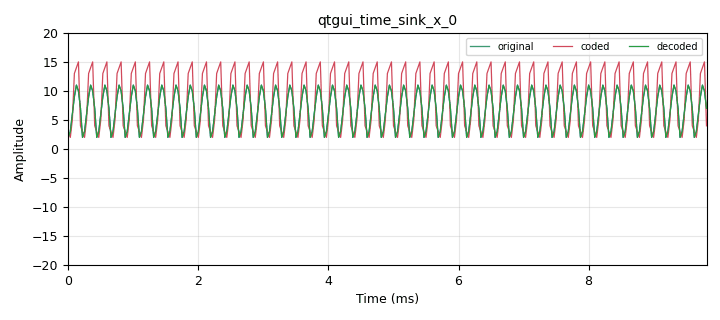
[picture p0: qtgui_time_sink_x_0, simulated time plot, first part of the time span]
<?xml version='1.0' encoding='utf-8'?>
<?grc format='1' created='3.7.13'?>
<flow_graph>
<block>
<key>options</key>
<param><key>id</key><value>top_block</value></param>
<param><key>generate_options</key><value>qt_gui</value></param>
</block>
<block>
<key>variable</key>
<param><key>id</key><value>cod_gray</value></param>
<param><key>value</key><value>digital.utils.gray_code.gray_code(16)</value></param>
</block>
<block>
<key>variable</key>
<param><key>id</key><value>cod_gray_inv</value></param>
<param><key>value</key><value>digital.mod_codes.invert_code(cod_gray)</value></param>
</block>
<block>
<key>variable</key>
<param><key>id</key><value>samp_rate</value></param>
<param><key>value</key><value>32000</value></param>
</block>
<block>
<key>blocks_char_to_float</key>
<param><key>id</key><value>blocks_char_to_float_0</value></param>
<param><key>scale</key><value>1</value></param>
</block>
<block>
<key>blocks_char_to_float</key>
<param><key>id</key><value>blocks_char_to_float_0_0</value></param>
<param><key>scale</key><value>1</value></param>
</block>
<block>
<key>blocks_char_to_float</key>
<param><key>id</key><value>blocks_char_to_float_0_1</value></param>
<param><key>scale</key><value>1</value></param>
</block>
<block>
<key>blocks_vector_source_x</key>
<param><key>id</key><value>blocks_vector_source_x_0</value></param>
<param><key>type</key><value>byte</value></param>
<param><key>repeat</key><value>True</value></param>
<param><key>vector</key><value>(7,2,3,6,9,11,10)</value></param>
</block>
<block>
<key>digital_map_bb</key>
<param><key>id</key><value>digital_map_bb_0</value></param>
<param><key>map</key><value>cod_gray</value></param>
</block>
<block>
<key>digital_map_bb</key>
<param><key>id</key><value>digital_map_bb_0_0</value></param>
<param><key>map</key><value>cod_gray_inv</value></param>
</block>
<block>
<key>qtgui_time_sink_x</key>
<param><key>id</key><value>qtgui_time_sink_x_0</value></param>
<param><key>color1</key><value>"blue"</value></param>
<param><key>label1</key><value>original</value></param>
<param><key>color2</key><value>"red"</value></param>
<param><key>label2</key><value>coded</value></param>
<param><key>color3</key><value>"green"</value></param>
<param><key>label3</key><value>decoded</value></param>
<param><key>nconnections</key><value>3</value></param>
<param><key>size</key><value>1024</value></param>
<param><key>srate</key><value>samp_rate</value></param>
<param><key>type</key><value>float</value></param>
<param><key>ymax</key><value>20</value></param>
<param><key>ymin</key><value>-20</value></param>
</block>
<connection><source_block_id>blocks_char_to_float_0</source_block_id><sink_block_id>qtgui_time_sink_x_0</sink_block_id><source_key>0</source_key><sink_key>0</sink_key></connection>
<connection><source_block_id>blocks_char_to_float_0_0</source_block_id><sink_block_id>qtgui_time_sink_x_0</sink_block_id><source_key>0</source_key><sink_key>1</sink_key></connection>
<connection><source_block_id>blocks_char_to_float_0_1</source_block_id><sink_block_id>qtgui_time_sink_x_0</sink_block_id><source_key>0</source_key><sink_key>2</sink_key></connection>
<connection><source_block_id>blocks_vector_source_x_0</source_block_id><sink_block_id>blocks_char_to_float_0</sink_block_id><source_key>0</source_key><sink_key>0</sink_key></connection>
<connection><source_block_id>blocks_vector_source_x_0</source_block_id><sink_block_id>digital_map_bb_0</sink_block_id><source_key>0</source_key><sink_key>0</sink_key></connection>
<connection><source_block_id>digital_map_bb_0</source_block_id><sink_block_id>blocks_char_to_float_0_0</sink_block_id><source_key>0</source_key><sink_key>0</sink_key></connection>
<connection><source_block_id>digital_map_bb_0</source_block_id><sink_block_id>digital_map_bb_0_0</sink_block_id><source_key>0</source_key><sink_key>0</sink_key></connection>
<connection><source_block_id>digital_map_bb_0_0</source_block_id><sink_block_id>blocks_char_to_float_0_1</sink_block_id><source_key>0</source_key><sink_key>0</sink_key></connection>
</flow_graph>
